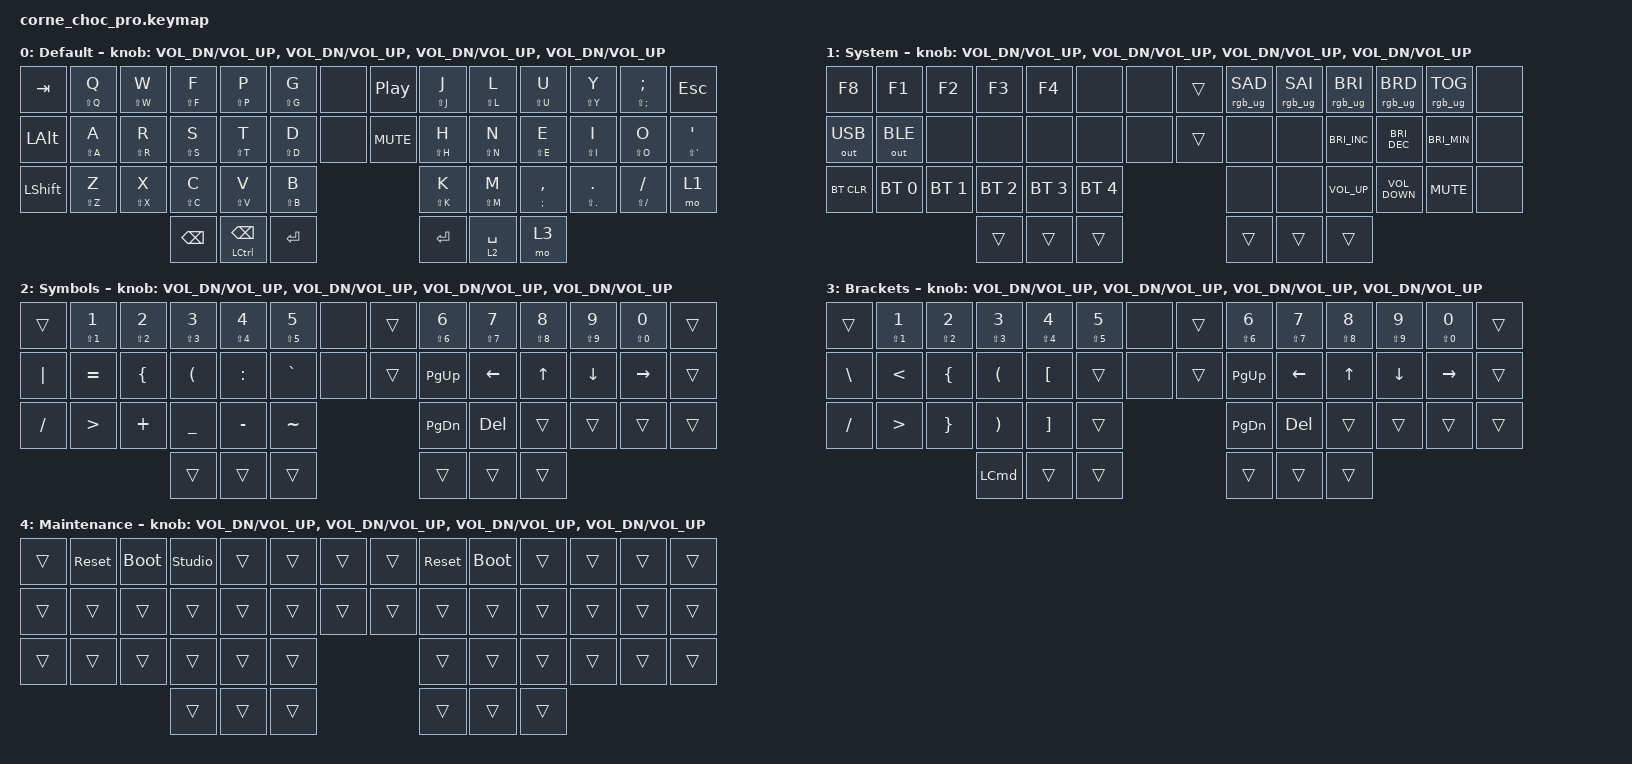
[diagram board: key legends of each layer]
/*
 * Copyright (c) 2020 The ZMK Contributors
 *
 * SPDX-License-Identifier: MIT
 */

#include <behaviors.dtsi>
#include <dt-bindings/zmk/bt.h>
#include <dt-bindings/zmk/keys.h>
#include <dt-bindings/zmk/outputs.h>
#include <dt-bindings/zmk/rgb.h>

/ {
    chosen { zmk,physical-layout = &default_layout; };

    behaviors {
        htp: homerow_mods {
            compatible = "zmk,behavior-hold-tap";
            #binding-cells = <2>;
            tapping-term-ms = <250>;
            quick-tap-ms = <0>;
            flavor = "tap-preferred";
            bindings = <&kp>, <&kp>;
        };
    };

    combos {
        compatible = "zmk,combos";

        maintenance_combo {
            timeout-ms = <50>;
            key-positions = <7 45>;
            bindings = <&mo 4>;
            layers = <0>;
        };
    };

    keymap {
        compatible = "zmk,keymap";

        default_layer {
            display-name = "Default";
            bindings = <
&kp TAB    &htp LS(Q) Q  &htp LS(W) W  &htp LS(F) F  &htp LS(P) P     &htp LS(G) G  &none  &kp C_PLAY_PAUSE  &htp LS(J) J  &htp LS(L) L  &htp LS(U) U     &htp LS(Y) Y      &htp LS(SEMI) SEMI  &kp ESC
&kp LALT   &htp LS(A) A  &htp LS(R) R  &htp LS(S) S  &htp LS(T) T     &htp LS(D) D  &none  &kp C_MUTE        &htp LS(H) H  &htp LS(N) N  &htp LS(E) E     &htp LS(I) I      &htp LS(O) O        &htp LS(SQT) SQT
&kp LSHFT  &htp LS(Z) Z  &htp LS(X) X  &htp LS(C) C  &htp LS(V) V     &htp LS(B) B                           &htp LS(K) K  &htp LS(M) M  &htp SEMI COMMA  &htp LS(DOT) DOT  &htp LS(FSLH) FSLH  &mo 1
                                       &kp BSPC      &htp LCTRL BSPC  &kp RET                                &kp RET       &lt 2 SPACE   &mo 3
            >;

            sensor-bindings = <&inc_dec_kp C_VOL_DN C_VOL_UP &inc_dec_kp C_VOL_DN C_VOL_UP &inc_dec_kp C_VOL_DN C_VOL_UP &inc_dec_kp C_VOL_DN C_VOL_UP>;
        };

        system {
            display-name = "System";
            bindings = <
&kp F8        &kp F1        &kp F2        &kp F3        &kp F4        &none         &none  &trans  &rgb_ug RGB_SAD  &rgb_ug RGB_SAI  &rgb_ug RGB_BRI       &rgb_ug RGB_BRD       &rgb_ug RGB_TOG  &none
&out OUT_USB  &out OUT_BLE  &none         &none         &none         &none         &none  &trans  &none            &none            &kp C_BRIGHTNESS_INC  &kp C_BRIGHTNESS_DEC  &kp C_BRI_MIN    &none
&bt BT_CLR    &bt BT_SEL 0  &bt BT_SEL 1  &bt BT_SEL 2  &bt BT_SEL 3  &bt BT_SEL 4                 &none            &none            &kp C_VOLUME_UP       &kp C_VOLUME_DOWN     &kp K_MUTE       &none
                                          &trans        &trans        &trans                       &trans           &trans           &trans
            >;

            sensor-bindings = <&inc_dec_kp C_VOL_DN C_VOL_UP &inc_dec_kp C_VOL_DN C_VOL_UP &inc_dec_kp C_VOL_DN C_VOL_UP &inc_dec_kp C_VOL_DN C_VOL_UP>;
        };

        symbols {
            display-name = "Symbols";
            bindings = <
&trans     &htp LS(N1) N1  &htp LS(N2) N2  &htp LS(N3) N3        &htp LS(N4) N4  &htp LS(N5) N5  &none  &trans  &htp LS(N6) N6  &htp LS(N7) N7  &htp LS(N8) N8  &htp LS(N9) N9  &htp LS(N0) N0  &trans
&kp PIPE   &kp EQUAL       &kp LEFT_BRACE  &kp LEFT_PARENTHESIS  &kp COLON       &kp GRAVE       &none  &trans  &kp PG_UP       &kp LEFT        &kp UP          &kp DOWN        &kp RIGHT       &trans
&kp SLASH  &kp GT          &kp PLUS        &kp UNDER             &kp MINUS       &kp TILDE                      &kp PG_DN       &kp DEL         &trans          &trans          &trans          &trans
                                           &trans                &trans          &trans                         &trans          &trans          &trans
            >;

            sensor-bindings = <&inc_dec_kp C_VOL_DN C_VOL_UP &inc_dec_kp C_VOL_DN C_VOL_UP &inc_dec_kp C_VOL_DN C_VOL_UP &inc_dec_kp C_VOL_DN C_VOL_UP>;
        };

        brackets {
            display-name = "Brackets";
            bindings = <
&trans         &htp LS(N1) N1  &htp LS(N2) N2   &htp LS(N3) N3         &htp LS(N4) N4     &htp LS(N5) N5  &none  &trans  &htp LS(N6) N6  &htp LS(N7) N7  &htp LS(N8) N8  &htp LS(N9) N9  &htp LS(N0) N0  &trans
&kp BACKSLASH  &kp LT          &kp LEFT_BRACE   &kp LEFT_PARENTHESIS   &kp LEFT_BRACKET   &trans          &none  &trans  &kp PAGE_UP     &kp LEFT        &kp UP          &kp DOWN        &kp RIGHT       &trans
&kp SLASH      &kp GT          &kp RIGHT_BRACE  &kp RIGHT_PARENTHESIS  &kp RIGHT_BRACKET  &trans                         &kp PAGE_DOWN   &kp DELETE      &trans          &trans          &trans          &trans
                                                &kp LEFT_COMMAND       &trans             &trans                         &trans          &trans          &trans
            >;

            sensor-bindings = <&inc_dec_kp C_VOL_DN C_VOL_UP &inc_dec_kp C_VOL_DN C_VOL_UP &inc_dec_kp C_VOL_DN C_VOL_UP &inc_dec_kp C_VOL_DN C_VOL_UP>;
        };

        maintenance {
            display-name = "Maintenance";

            // Reset/bootloader target the physical key's half: Q/W left, J/L right.

            bindings = <
&trans  &sys_reset  &bootloader  &studio_unlock  &trans  &trans  &trans  &trans  &sys_reset  &bootloader  &trans  &trans  &trans  &trans
&trans  &trans      &trans       &trans          &trans  &trans  &trans  &trans  &trans      &trans       &trans  &trans  &trans  &trans
&trans  &trans      &trans       &trans          &trans  &trans                  &trans      &trans       &trans  &trans  &trans  &trans
                                 &trans          &trans  &trans                  &trans      &trans       &trans
            >;

            sensor-bindings = <&inc_dec_kp C_VOL_DN C_VOL_UP &inc_dec_kp C_VOL_DN C_VOL_UP &inc_dec_kp C_VOL_DN C_VOL_UP &inc_dec_kp C_VOL_DN C_VOL_UP>;
        };
    };
};
